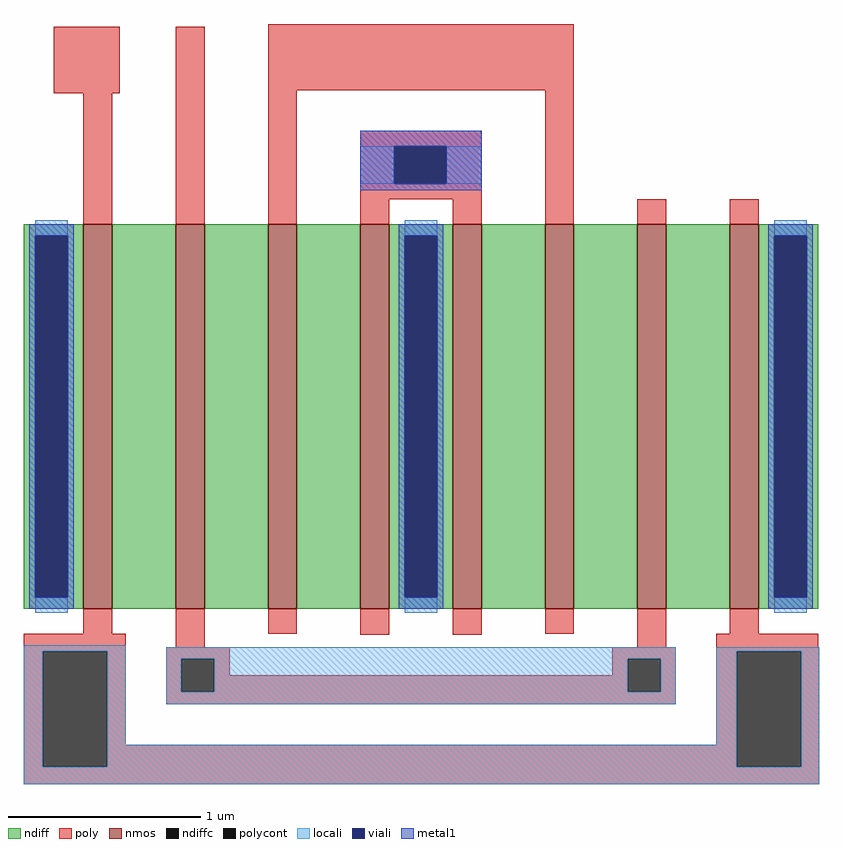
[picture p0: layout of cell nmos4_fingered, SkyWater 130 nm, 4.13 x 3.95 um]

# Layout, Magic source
magic
tech sky130B
magscale 1 2
<< nmos >>
rect -351 -200 -321 200
rect -255 -200 -225 200
rect -159 -200 -129 200
rect -63 -200 -33 200
rect 33 -200 63 200
rect 129 -200 159 200
rect 225 -200 255 200
rect 321 -200 351 200
<< ndiff >>
rect -413 188 -351 200
rect -413 -188 -401 188
rect -367 -188 -351 188
rect -413 -200 -351 -188
rect -321 -200 -255 200
rect -225 -200 -159 200
rect -129 -200 -63 200
rect -33 188 33 200
rect -33 -188 -17 188
rect 17 -188 33 188
rect -33 -200 33 -188
rect 63 -200 129 200
rect 159 -200 225 200
rect 255 -200 321 200
rect 351 188 413 200
rect 351 -188 367 188
rect 401 -188 413 188
rect 351 -200 413 -188
<< ndiffc >>
rect -401 -188 -367 188
rect -17 -188 17 188
rect 367 -188 401 188
<< poly >>
rect -382 336 -313 405
rect -351 200 -321 336
rect -255 200 -225 405
rect -159 339 159 408
rect -159 200 -129 339
rect -63 281 63 297
rect -63 242 -28 281
rect 26 242 63 281
rect -63 226 63 242
rect -63 200 -33 226
rect 33 200 63 226
rect 129 200 159 339
rect 225 200 255 226
rect 321 200 351 226
rect -351 -226 -321 -200
rect -413 -244 -307 -226
rect -255 -240 -225 -200
rect -159 -226 -129 -200
rect -63 -227 -33 -200
rect 33 -227 63 -200
rect 129 -226 159 -200
rect 225 -240 255 -200
rect 321 -226 351 -200
rect 307 -240 413 -226
rect -413 -364 -393 -244
rect -326 -341 -307 -244
rect -265 -252 -199 -240
rect -265 -286 -249 -252
rect -215 -269 -199 -252
rect 199 -252 265 -240
rect 199 -269 215 -252
rect -215 -286 215 -269
rect 249 -286 265 -252
rect -265 -299 265 -286
rect 307 -244 414 -240
rect 307 -341 328 -244
rect -326 -364 328 -341
rect 395 -364 414 -244
rect -413 -382 414 -364
<< polycont >>
rect -28 242 26 281
rect -393 -364 -326 -244
rect -249 -286 -215 -252
rect 215 -286 249 -252
rect 328 -364 395 -244
<< locali >>
rect -63 242 -28 281
rect 26 242 63 281
rect -401 188 -367 204
rect -401 -204 -367 -188
rect -17 188 17 204
rect -17 -204 17 -188
rect 367 188 401 204
rect 367 -204 401 -188
rect -413 -244 -307 -238
rect -413 -364 -393 -244
rect -326 -341 -307 -244
rect -265 -252 265 -240
rect -265 -286 -249 -252
rect -215 -286 215 -252
rect 249 -286 265 -252
rect -265 -299 265 -286
rect 307 -244 414 -240
rect 307 -341 328 -244
rect -326 -364 328 -341
rect 395 -364 414 -244
rect -413 -382 414 -364
<< viali >>
rect -28 242 26 281
rect -401 -188 -367 188
rect -17 -188 17 188
rect 367 -188 401 188
<< metal1 >>
rect -63 281 63 297
rect -63 242 -28 281
rect 26 242 63 281
rect -63 235 63 242
rect -407 188 -361 200
rect -407 -188 -401 188
rect -367 -188 -361 188
rect -407 -200 -361 -188
rect -23 188 23 200
rect -23 -188 -17 188
rect 17 -188 23 188
rect -23 -200 23 -188
rect 361 188 407 200
rect 361 -188 367 188
rect 401 -188 407 188
rect 361 -200 407 -188
<< properties >>
string gencell sky130_fd_pr__nfet_01v8
string library sky130
string parameters w 2 l 0.150 m 1 nf 8 diffcov 100 polycov 100 guard 0 glc 1 grc 1 gtc 1 gbc 1 tbcov 100 rlcov 100 topc 0 botc 0 poverlap 0 doverlap 1 lmin 0.15 wmin 0.42 compatible {sky130_fd_pr__nfet_01v8 sky130_fd_pr__nfet_01v8_lvt  sky130_fd_bs_flash__special_sonosfet_star  sky130_fd_pr__nfet_g5v0d10v5 sky130_fd_pr__nfet_05v0_nvt  sky130_fd_pr__nfet_03v3_nvt} full_metal 1 viasrc 100 viadrn 100 viagate 100 viagb 0 viagr 0 viagl 0 viagt 0
<< end >>
